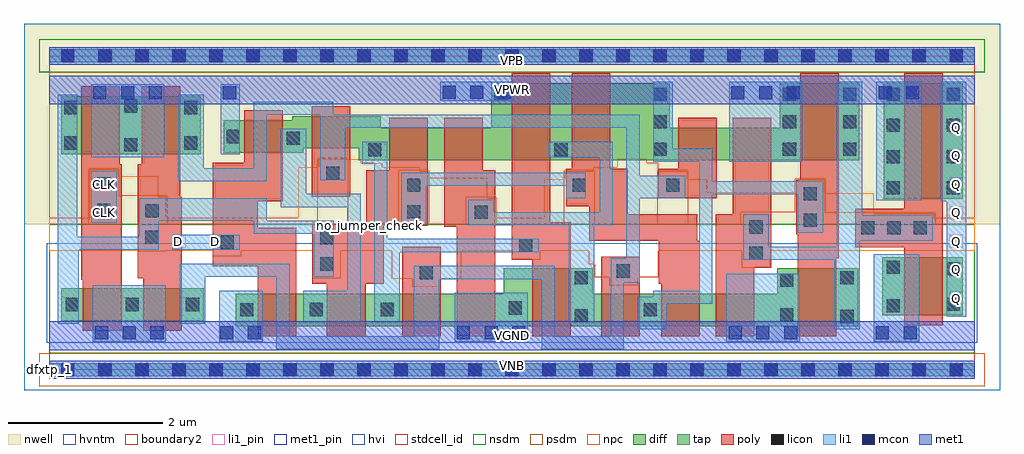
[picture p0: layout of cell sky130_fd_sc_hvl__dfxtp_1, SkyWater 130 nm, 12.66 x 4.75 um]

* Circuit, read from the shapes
.subckt sky130_fd_sc_hvl__dfxtp_1 CLK D Q VGND VNB VPB VPWR
XM1 VGND CLK n1 VNB sky130_fd_pr__nfet_g5v0d10v5 w=0.42 l=0.5
XM2 n2 n1 VGND VNB sky130_fd_pr__nfet_g5v0d10v5 w=0.42 l=0.5
XM3 n3 D VGND VNB sky130_fd_pr__nfet_g5v0d10v5 w=0.42 l=0.5
XM4 n4 n1 n3 VNB sky130_fd_pr__nfet_g5v0d10v5 w=0.42 l=0.5
XM5 n5 n2 n4 VNB sky130_fd_pr__nfet_g5v0d10v5 w=0.42 l=0.5
XM6 VGND n6 n5 VNB sky130_fd_pr__nfet_g5v0d10v5 w=0.42 l=0.5
XM7 n6 n4 VGND VNB sky130_fd_pr__nfet_g5v0d10v5 w=0.75 l=0.5
XM8 n7 n2 n6 VNB sky130_fd_pr__nfet_g5v0d10v5 w=0.42 l=0.5
XM9 n8 n1 n7 VNB sky130_fd_pr__nfet_g5v0d10v5 w=0.42 l=0.5
XM10 VGND n9 n8 VNB sky130_fd_pr__nfet_g5v0d10v5 w=0.42 l=0.5
XM11 n9 n7 VGND VNB sky130_fd_pr__nfet_g5v0d10v5 w=0.75 l=0.5
XM12 Q n9 VGND VNB sky130_fd_pr__nfet_g5v0d10v5 w=0.75 l=0.5
XM13 VPWR CLK n1 VPB sky130_fd_pr__pfet_g5v0d10v5 w=0.75 l=0.5
XM14 n2 n1 VPWR VPB sky130_fd_pr__pfet_g5v0d10v5 w=0.75 l=0.5
XM15 n3 D VPWR VPB sky130_fd_pr__pfet_g5v0d10v5 w=0.42 l=0.5
XM16 n4 n2 n3 VPB sky130_fd_pr__pfet_g5v0d10v5 w=0.42 l=0.5
XM17 n10 n1 n4 VPB sky130_fd_pr__pfet_g5v0d10v5 w=0.42 l=0.5
XM18 VPWR n6 n10 VPB sky130_fd_pr__pfet_g5v0d10v5 w=0.42 l=0.5
XM19 n6 n4 VPWR VPB sky130_fd_pr__pfet_g5v0d10v5 w=1 l=0.5
XM20 n7 n1 n6 VPB sky130_fd_pr__pfet_g5v0d10v5 w=1 l=0.5
XM21 n11 n2 n7 VPB sky130_fd_pr__pfet_g5v0d10v5 w=0.42 l=0.5
XM22 VPWR n9 n11 VPB sky130_fd_pr__pfet_g5v0d10v5 w=0.42 l=0.5
XM23 n9 n7 VPWR VPB sky130_fd_pr__pfet_g5v0d10v5 w=1 l=0.5
XM24 Q n9 VPWR VPB sky130_fd_pr__pfet_g5v0d10v5 w=1.5 l=0.5
.ends

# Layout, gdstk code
import gdstk
lib = gdstk.Library(unit=1e-6, precision=1e-09)
def R(c, l, rs):  # rectangles x0, y0, x1, y1
    for r in rs: c.add(gdstk.rectangle(r[:2], r[2:], *l))
def A(c, l, x, y, w, h, nx, ny, dx, dy):  # array of equal rectangles
    R(c, l, [(x+i*dx, y+j*dy, x+i*dx+w, y+j*dy+h) for i in range(nx) for j in range(ny)])
def P(c, l, *ps):  # polygons
    for p in ps: c.add(gdstk.Polygon(p, *l))
nwell = (64, 20)
diff = (65, 20)
tap = (65, 44)
poly = (66, 20)
licon = (66, 44)
li1_pin = (67, 16)
li1 = (67, 20)
mcon = (67, 44)
met1_pin = (68, 16)
met1 = (68, 20)
hvi = (75, 20)
stdcell_id = (81, 4)
nsdm = (93, 44)
psdm = (94, 20)
npc = (95, 20)
hvntm = (125, 20)
boundary2 = (236, 0)

sky130_fd_sc_hvl__dfxtp_ = lib.new_cell('sky130_fd_sc_hvl__dfxtp_1')
R(sky130_fd_sc_hvl__dfxtp_, nwell, [(-0.33,1.885,12.33,4.485)])
R(sky130_fd_sc_hvl__dfxtp_, diff, [(0.15,0.635,2,1.055), (10.8,0.705,11.85,1.455), (10.82,2.215,11.85,3.715), (0.15,2.795,1.96,3.545)])
P(sky130_fd_sc_hvl__dfxtp_, diff, [(10.49,1.315),(9.44,1.315),(9.44,0.985),(7.045,0.985),(7.045,1.315),(5.895,1.315),(5.895,0.985),(2.415,0.985),(2.415,0.565),(10.49,0.565)],
  [(10.505,3.715),(9.475,3.715),(9.475,3.135),(8.045,3.135),(8.045,3.715),(5.73,3.715),(5.73,3.135),(4.3,3.135),(4.3,3.29),(3.15,3.29),(3.15,3.235),(2.26,3.235),(2.26,2.815),(3.29,2.815),(3.29,2.87),(4.01,2.87),(4.01,2.715),(10.505,2.715)])
R(sky130_fd_sc_hvl__dfxtp_, tap, [(0,-0.085,12,0.085), (0,3.985,12,4.155)])
R(sky130_fd_sc_hvl__dfxtp_, poly, [(4.575,0.435,5.075,1.595), (7.155,0.435,7.655,1.465), (3.4,2.24,3.9,3.42)])
P(sky130_fd_sc_hvl__dfxtp_, poly, [(0.935,2.665),(0.915,2.665),(0.915,3.675),(0.415,3.675),(0.415,1.165),(0.435,1.165),(0.435,0.505),(0.935,0.505)],
  [(1.715,2.245),(1.695,2.245),(1.695,3.675),(1.195,3.675),(1.195,2.665),(1.145,2.665),(1.145,1.185),(1.215,1.185),(1.215,0.505),(1.715,0.505)],
  [(3.2,1.84),(2.7,1.84),(2.7,2.185),(3.025,2.185),(3.025,3.365),(2.525,3.365),(2.525,2.685),(2.12,2.685),(2.12,1.34),(2.7,1.34),(2.7,0.435),(3.2,0.435)],
  [(4.91,3.265),(4.41,3.265),(4.41,2.585),(4.11,2.585),(4.11,1.895),(3.41,1.895),(3.41,1.115),(3.6,1.115),(3.6,0.435),(4.1,0.435),(4.1,1.115),(4.335,1.115),(4.335,1.865),(4.91,1.865)],
  [(5.785,2.585),(5.62,2.585),(5.62,3.265),(5.12,3.265),(5.12,1.855),(5.285,1.855),(5.285,0.435),(5.785,0.435)],
  [(6.76,1.91),(6.495,1.91),(6.495,3.845),(5.995,3.845),(5.995,1.425),(6.26,1.425),(6.26,0.435),(6.76,0.435)],
  [(8.435,1.675),(8.405,1.675),(8.405,2.015),(7.5,2.015),(7.5,2.605),(7.275,2.605),(7.275,3.845),(6.775,3.845),(6.775,2.605),(6.705,2.605),(6.705,2.12),(7,2.12),(7,1.675),(7.905,1.675),(7.905,1.115),(7.935,1.115),(7.935,0.435),(8.435,0.435)],
  [(8.655,3.265),(8.155,3.265),(8.155,2.605),(7.9,2.605),(7.9,2.225),(8.655,2.225)],
  [(9.365,3.265),(8.865,3.265),(8.865,2.015),(8.645,2.015),(8.645,0.435),(9.145,0.435),(9.145,1.325),(9.365,1.325)],
  [(10.24,3.845),(9.74,3.845),(9.74,2.465),(9.685,2.465),(9.685,1.755),(9.705,1.755),(9.705,0.435),(10.205,0.435),(10.205,1.445),(10.24,1.445)],
  [(11.585,3.845),(11.085,3.845),(11.085,2.085),(10.45,2.085),(10.45,1.585),(11.085,1.585),(11.085,0.575),(11.585,0.575)])
A(sky130_fd_sc_hvl__dfxtp_, licon, 0.155, -0.085, 0.17, 0.17, 25, 2, 0.48, 4.07)
A(sky130_fd_sc_hvl__dfxtp_, licon, 0.21, 0.76, 0.17, 0.17, 3, 1, 0.78, 0)
A(sky130_fd_sc_hvl__dfxtp_, licon, 10.53, 1.755, 0.17, 0.17, 3, 1, 0.34, 0)
A(sky130_fd_sc_hvl__dfxtp_, licon, 7.835, 2.775, 0.17, 0.17, 1, 3, 0, 0.355)
A(sky130_fd_sc_hvl__dfxtp_, licon, 9.515, 2.775, 0.17, 0.17, 1, 3, 0, 0.355)
A(sky130_fd_sc_hvl__dfxtp_, licon, 10.295, 2.775, 0.17, 0.17, 1, 3, 0, 0.355)
R(sky130_fd_sc_hvl__dfxtp_, licon, [(10.26,0.605,10.43,0.775), (6.815,0.615,6.985,0.785), (9.48,0.625,9.65,0.795), (2.475,0.69,2.645,0.86), (7.71,0.69,7.88,0.86), (3.375,0.695,3.545,0.865), (4.295,0.695,4.465,0.865), (5.955,0.715,6.125,0.885), (10.86,0.745,11.03,0.915), (11.64,0.765,11.81,0.935), (9.48,1.075,9.65,1.245), (6.815,1.105,6.985,1.275), (10.26,1.105,10.43,1.275), (4.805,1.175,4.975,1.345), (7.36,1.195,7.53,1.365), (11.64,1.225,11.81,1.395), (10.86,1.245,11.03,1.415), (3.51,1.285,3.68,1.455), (9.08,1.425,9.25,1.595), (6.095,1.525,6.265,1.695), (2.22,1.57,2.39,1.74), (3.51,1.625,3.68,1.795), (1.245,1.635,1.415,1.805), (9.08,1.765,9.25,1.935), (9.785,1.855,9.955,2.025), (5.515,1.955,5.685,2.125), (4.64,1.965,4.81,2.135), (1.245,1.975,1.415,2.145), (0.62,1.985,0.79,2.155), (9.785,2.195,9.955,2.365), (10.86,2.275,11.03,2.445), (11.64,2.275,11.81,2.445), (4.64,2.305,4.81,2.475), (6.785,2.305,6.955,2.475), (8,2.305,8.17,2.475), (0.62,2.325,0.79,2.495), (3.59,2.46,3.76,2.63), (10.86,2.675,11.03,2.845), (11.64,2.675,11.81,2.845), (4.135,2.77,4.305,2.94), (6.55,2.77,6.72,2.94), (0.97,2.835,1.14,3.005), (0.19,2.855,0.36,3.025), (1.75,2.855,1.92,3.025), (3.08,2.915,3.25,3.085), (2.3,2.94,2.47,3.11), (10.86,3.085,11.03,3.255), (11.64,3.085,11.81,3.255), (0.19,3.315,0.36,3.485), (1.75,3.315,1.92,3.485), (0.97,3.335,1.14,3.505), (5.77,3.485,5.94,3.655), (10.86,3.485,11.03,3.655), (11.64,3.485,11.81,3.655)])
A(sky130_fd_sc_hvl__dfxtp_, li1_pin, 11.675, 0.84, 0.17, 0.17, 1, 7, 0, 0.37)
R(sky130_fd_sc_hvl__dfxtp_, li1_pin, [(1.595,1.58,1.765,1.75), (2.075,1.58,2.245,1.75), (0.635,1.95,0.805,2.12), (0.635,2.32,0.805,2.49)])
R(sky130_fd_sc_hvl__dfxtp_, li1, [(0,-0.085,12,0.085), (0.56,0.365,1.51,1.095), (2.2,0.365,2.765,1.025), (5.255,0.365,6.205,0.995), (8.78,0.365,9.73,1.245), (10.69,0.365,11.28,1.495), (1.595,1.555,2.47,1.75), (0.54,1.905,0.87,2.575), (10.725,2.195,11.315,3.735), (8.815,2.695,9.765,3.735), (0.54,2.755,1.49,3.705), (2.22,2.795,2.47,3.705), (5.07,3.485,6.02,3.735), (0,3.985,12,4.155)])
P(sky130_fd_sc_hvl__dfxtp_, li1, [(3.685,1.93),(2.82,1.93),(2.82,2.225),(1.165,2.225),(1.165,1.725),(0.36,1.725),(0.36,3.565),(0.11,3.565),(0.11,0.595),(0.38,0.595),(0.38,1.555),(1.415,1.555),(1.415,1.93),(2.65,1.93),(2.65,1.76),(3.43,1.76),(3.43,1.205),(3.685,1.205)],
  [(4.035,2.28),(3.33,2.28),(3.33,3.125),(3,3.125),(3,2.11),(3.865,2.11),(3.865,1.025),(3.295,1.025),(3.295,0.615),(4.035,0.615)],
  [(6.345,1.695),(4.385,1.695),(4.385,2.955),(4.055,2.955),(4.055,2.675),(4.215,2.675),(4.215,0.615),(4.545,0.615),(4.545,1.525),(6.345,1.525)],
  [(6.955,2.555),(4.565,2.555),(4.565,1.885),(4.89,1.885),(4.89,2.385),(6.705,2.385),(6.705,2.225),(6.955,2.225)],
  [(7.305,2.955),(6.47,2.955),(6.47,2.755),(7.135,2.755),(7.135,2.045),(5.765,2.045),(5.765,2.205),(5.435,2.205),(5.435,1.875),(6.735,1.875),(6.735,0.615),(7.065,0.615),(7.065,1.875),(7.305,1.875)],
  [(8.25,2.515),(7.655,2.515),(7.655,3.305),(3.68,3.305),(3.68,3.475),(2.65,3.475),(2.65,2.615),(2,2.615),(2,3.565),(1.67,3.565),(1.67,2.445),(2.82,2.445),(2.82,3.305),(3.51,3.305),(3.51,2.46),(3.84,2.46),(3.84,3.135),(7.485,3.135),(7.485,1.445),(7.28,1.445),(7.28,0.435),(6.555,0.435),(6.555,1.345),(4.725,1.345),(4.725,0.435),(3.115,0.435),(3.115,1.375),(1.69,1.375),(1.69,0.595),(2.02,0.595),(2.02,1.205),(2.945,1.205),(2.945,0.265),(5.055,0.265),(5.055,1.175),(6.385,1.175),(6.385,0.265),(7.45,0.265),(7.45,1.125),(7.655,1.125),(7.655,2.225),(8.25,2.225)],
  [(10.035,2.445),(8.6,2.445),(8.6,2.865),(8.085,2.865),(8.085,3.735),(7.835,3.735),(7.835,2.695),(8.43,2.695),(8.43,1.025),(7.835,1.025),(7.835,0.945),(7.63,0.945),(7.63,0.525),(8.005,0.525),(8.005,0.855),(8.6,0.855),(8.6,2.275),(9.705,2.275),(9.705,1.775),(10.035,1.775)],
  [(11.46,2.005),(10.545,2.005),(10.545,3.735),(10.215,3.735),(10.215,1.595),(9.33,1.595),(9.33,2.015),(9,2.015),(9,1.425),(10.18,1.425),(10.18,0.525),(10.51,0.525),(10.51,1.675),(11.46,1.675)],
  [(11.89,3.735),(11.56,3.735),(11.56,2.185),(11.64,2.185),(11.64,0.685),(11.89,0.685)])
A(sky130_fd_sc_hvl__dfxtp_, mcon, 0.59, 0.395, 0.17, 0.17, 3, 1, 0.36, 0)
A(sky130_fd_sc_hvl__dfxtp_, mcon, 5.285, 0.395, 0.17, 0.17, 3, 1, 0.36, 0)
A(sky130_fd_sc_hvl__dfxtp_, mcon, 8.81, 0.395, 0.17, 0.17, 3, 1, 0.36, 0)
A(sky130_fd_sc_hvl__dfxtp_, mcon, 0.57, 3.505, 0.17, 0.17, 3, 1, 0.36, 0)
A(sky130_fd_sc_hvl__dfxtp_, mcon, 8.845, 3.505, 0.17, 0.17, 3, 1, 0.36, 0)
A(sky130_fd_sc_hvl__dfxtp_, mcon, 5.1, 3.515, 0.17, 0.17, 3, 1, 0.36, 0)
R(sky130_fd_sc_hvl__dfxtp_, mcon, [(0.155,-0.085,0.325,0.085), (0.155,-0.085,0.325,0.085), (0.635,-0.085,0.805,0.085), (0.635,-0.085,0.805,0.085), (1.115,-0.085,1.285,0.085), (1.115,-0.085,1.285,0.085), (1.595,-0.085,1.765,0.085), (1.595,-0.085,1.765,0.085), (2.075,-0.085,2.245,0.085), (2.075,-0.085,2.245,0.085), (2.555,-0.085,2.725,0.085), (2.555,-0.085,2.725,0.085), (3.035,-0.085,3.205,0.085), (3.035,-0.085,3.205,0.085), (3.515,-0.085,3.685,0.085), (3.515,-0.085,3.685,0.085), (3.995,-0.085,4.165,0.085), (3.995,-0.085,4.165,0.085), (4.475,-0.085,4.645,0.085), (4.475,-0.085,4.645,0.085), (4.955,-0.085,5.125,0.085), (4.955,-0.085,5.125,0.085), (5.435,-0.085,5.605,0.085), (5.435,-0.085,5.605,0.085), (5.915,-0.085,6.085,0.085), (5.915,-0.085,6.085,0.085), (6.395,-0.085,6.565,0.085), (6.395,-0.085,6.565,0.085), (6.875,-0.085,7.045,0.085), (6.875,-0.085,7.045,0.085), (7.355,-0.085,7.525,0.085), (7.355,-0.085,7.525,0.085), (7.835,-0.085,8.005,0.085), (7.835,-0.085,8.005,0.085), (8.315,-0.085,8.485,0.085), (8.315,-0.085,8.485,0.085), (8.795,-0.085,8.965,0.085), (8.795,-0.085,8.965,0.085), (9.275,-0.085,9.445,0.085), (9.275,-0.085,9.445,0.085), (9.755,-0.085,9.925,0.085), (9.755,-0.085,9.925,0.085), (10.235,-0.085,10.405,0.085), (10.235,-0.085,10.405,0.085), (10.715,-0.085,10.885,0.085), (10.715,-0.085,10.885,0.085), (11.195,-0.085,11.365,0.085), (11.195,-0.085,11.365,0.085), (11.675,-0.085,11.845,0.085), (11.675,-0.085,11.845,0.085), (2.215,0.395,2.385,0.565), (2.575,0.395,2.745,0.565), (10.72,0.395,10.89,0.565), (11.08,0.395,11.25,0.565), (2.25,3.505,2.42,3.675), (10.755,3.505,10.925,3.675), (11.115,3.505,11.285,3.675), (0.155,3.985,0.325,4.155), (0.155,3.985,0.325,4.155), (0.635,3.985,0.805,4.155), (0.635,3.985,0.805,4.155), (1.115,3.985,1.285,4.155), (1.115,3.985,1.285,4.155), (1.595,3.985,1.765,4.155), (1.595,3.985,1.765,4.155), (2.075,3.985,2.245,4.155), (2.075,3.985,2.245,4.155), (2.555,3.985,2.725,4.155), (2.555,3.985,2.725,4.155), (3.035,3.985,3.205,4.155), (3.035,3.985,3.205,4.155), (3.515,3.985,3.685,4.155), (3.515,3.985,3.685,4.155), (3.995,3.985,4.165,4.155), (3.995,3.985,4.165,4.155), (4.475,3.985,4.645,4.155), (4.475,3.985,4.645,4.155), (4.955,3.985,5.125,4.155), (4.955,3.985,5.125,4.155), (5.435,3.985,5.605,4.155), (5.435,3.985,5.605,4.155), (5.915,3.985,6.085,4.155), (5.915,3.985,6.085,4.155), (6.395,3.985,6.565,4.155), (6.395,3.985,6.565,4.155), (6.875,3.985,7.045,4.155), (6.875,3.985,7.045,4.155), (7.355,3.985,7.525,4.155), (7.355,3.985,7.525,4.155), (7.835,3.985,8.005,4.155), (7.835,3.985,8.005,4.155), (8.315,3.985,8.485,4.155), (8.315,3.985,8.485,4.155), (8.795,3.985,8.965,4.155), (8.795,3.985,8.965,4.155), (9.275,3.985,9.445,4.155), (9.275,3.985,9.445,4.155), (9.755,3.985,9.925,4.155), (9.755,3.985,9.925,4.155), (10.235,3.985,10.405,4.155), (10.235,3.985,10.405,4.155), (10.715,3.985,10.885,4.155), (10.715,3.985,10.885,4.155), (11.195,3.985,11.365,4.155), (11.195,3.985,11.365,4.155), (11.675,3.985,11.845,4.155), (11.675,3.985,11.845,4.155)])
R(sky130_fd_sc_hvl__dfxtp_, met1_pin, [(0,0,12,0.115), (0,0.255,12,0.625), (0,3.445,12,3.815), (0,3.955,12,4.07)])
R(sky130_fd_sc_hvl__dfxtp_, met1, [(0,-0.115,12,0.115), (0,0.255,12,0.625), (0,3.445,12,3.815), (0,3.955,12,4.185)])
R(sky130_fd_sc_hvl__dfxtp_, hvi, [(-0.33,-0.265,12.33,4.485)])
R(sky130_fd_sc_hvl__dfxtp_, stdcell_id, [(0,0,12,4.07)])
R(sky130_fd_sc_hvl__dfxtp_, nsdm, [(0,0.215,12,1.885), (-0.13,3.855,12.13,4.285), (0,3.855,12,4.07)])
R(sky130_fd_sc_hvl__dfxtp_, psdm, [(-0.13,-0.215,12.13,0.215)])
P(sky130_fd_sc_hvl__dfxtp_, psdm, [(12,3.855),(0,3.855),(0,1.885),(0.51,1.885),(0.51,2.605),(0.9,2.605),(0.9,2.255),(1.525,2.255),(1.525,1.885),(3.4,1.885),(3.4,1.905),(3.48,1.905),(3.48,2.74),(3.87,2.74),(3.87,1.885),(4.53,1.885),(4.53,2.585),(4.92,2.585),(4.92,1.885),(5.405,1.885),(5.405,2.235),(5.795,2.235),(5.795,1.885),(6.675,1.885),(6.675,2.585),(7.065,2.585),(7.065,1.885),(7.89,1.885),(7.89,2.585),(8.28,2.585),(8.28,1.885),(8.97,1.885),(8.97,2.045),(9.675,2.045),(9.675,2.475),(10.065,2.475),(10.065,2.035),(11.49,2.035),(11.49,1.885),(12,1.885)])
P(sky130_fd_sc_hvl__dfxtp_, npc, [(12,1.97),(11.48,1.97),(11.48,2.025),(10.695,2.025),(10.695,2.29),(10.055,2.29),(10.055,2.465),(9.685,2.465),(9.685,2.3),(8.535,2.3),(8.535,2.47),(8.27,2.47),(8.27,2.575),(7.9,2.575),(7.9,2.685),(7.745,2.685),(7.745,2.735),(7.365,2.735),(7.365,2.625),(7.055,2.625),(7.055,2.575),(6.685,2.575),(6.685,2.47),(6.42,2.47),(6.42,1.97),(5.785,1.97),(5.785,2.225),(5.68,2.225),(5.68,2.49),(4.91,2.49),(4.91,2.575),(4.805,2.575),(4.805,2.625),(4.32,2.625),(4.32,2.68),(4.045,2.68),(4.045,2.73),(3.49,2.73),(3.49,2.625),(3.225,2.625),(3.225,1.97),(1.515,1.97),(1.515,2.245),(1.41,2.245),(1.41,2.51),(0.89,2.51),(0.89,2.595),(0.52,2.595),(0.52,1.97),(0,1.97),(0,1.545),(1.145,1.545),(1.145,1.535),(1.515,1.535),(1.515,1.545),(2.12,1.545),(2.12,1.47),(2.49,1.47),(2.49,1.545),(3.41,1.545),(3.41,1.185),(3.78,1.185),(3.78,1.545),(4.44,1.545),(4.44,1.18),(4.705,1.18),(4.705,1.075),(5.075,1.075),(5.075,1.18),(5.34,1.18),(5.34,1.545),(5.995,1.545),(5.995,1.425),(6.365,1.425),(6.365,1.545),(6.995,1.545),(6.995,1.365),(7.075,1.365),(7.075,1.2),(7.26,1.2),(7.26,1.095),(7.63,1.095),(7.63,1.2),(7.895,1.2),(7.895,1.545),(8.98,1.545),(8.98,1.325),(9.35,1.325),(9.35,1.545),(12,1.545)])
R(sky130_fd_sc_hvl__dfxtp_, hvntm, [(-0.035,0.35,12.035,1.64)])
R(sky130_fd_sc_hvl__dfxtp_, boundary2, [(0,0,12,4.07)])
sky130_fd_sc_hvl__dfxtp_.add(gdstk.Label('no_jumper_check', (4.155,1.865), layer=83, texttype=44))
sky130_fd_sc_hvl__dfxtp_.add(gdstk.Label('dfxtp_1', (0,0), layer=83, texttype=44))
sky130_fd_sc_hvl__dfxtp_.add(gdstk.Label('VGND', (6,0.44), layer=68, texttype=5))
sky130_fd_sc_hvl__dfxtp_.add(gdstk.Label('VNB', (6,0.058), layer=68, texttype=5))
sky130_fd_sc_hvl__dfxtp_.add(gdstk.Label('VPWR', (6,3.63), layer=68, texttype=5))
sky130_fd_sc_hvl__dfxtp_.add(gdstk.Label('VPB', (6,4.013), layer=68, texttype=5))
sky130_fd_sc_hvl__dfxtp_.add(gdstk.Label('CLK', (0.72,2.035), layer=67, texttype=5))
sky130_fd_sc_hvl__dfxtp_.add(gdstk.Label('CLK', (0.72,2.405), layer=67, texttype=5))
sky130_fd_sc_hvl__dfxtp_.add(gdstk.Label('D', (1.68,1.665), layer=67, texttype=5))
sky130_fd_sc_hvl__dfxtp_.add(gdstk.Label('D', (2.16,1.665), layer=67, texttype=5))
sky130_fd_sc_hvl__dfxtp_.add(gdstk.Label('Q', (11.76,0.925), layer=67, texttype=5))
sky130_fd_sc_hvl__dfxtp_.add(gdstk.Label('Q', (11.76,1.295), layer=67, texttype=5))
sky130_fd_sc_hvl__dfxtp_.add(gdstk.Label('Q', (11.76,1.665), layer=67, texttype=5))
sky130_fd_sc_hvl__dfxtp_.add(gdstk.Label('Q', (11.76,2.035), layer=67, texttype=5))
sky130_fd_sc_hvl__dfxtp_.add(gdstk.Label('Q', (11.76,2.405), layer=67, texttype=5))
sky130_fd_sc_hvl__dfxtp_.add(gdstk.Label('Q', (11.76,2.775), layer=67, texttype=5))
sky130_fd_sc_hvl__dfxtp_.add(gdstk.Label('Q', (11.76,3.145), layer=67, texttype=5))

lib.write_gds('sky130_fd_sc_hvl__dfxtp_1.gds')
